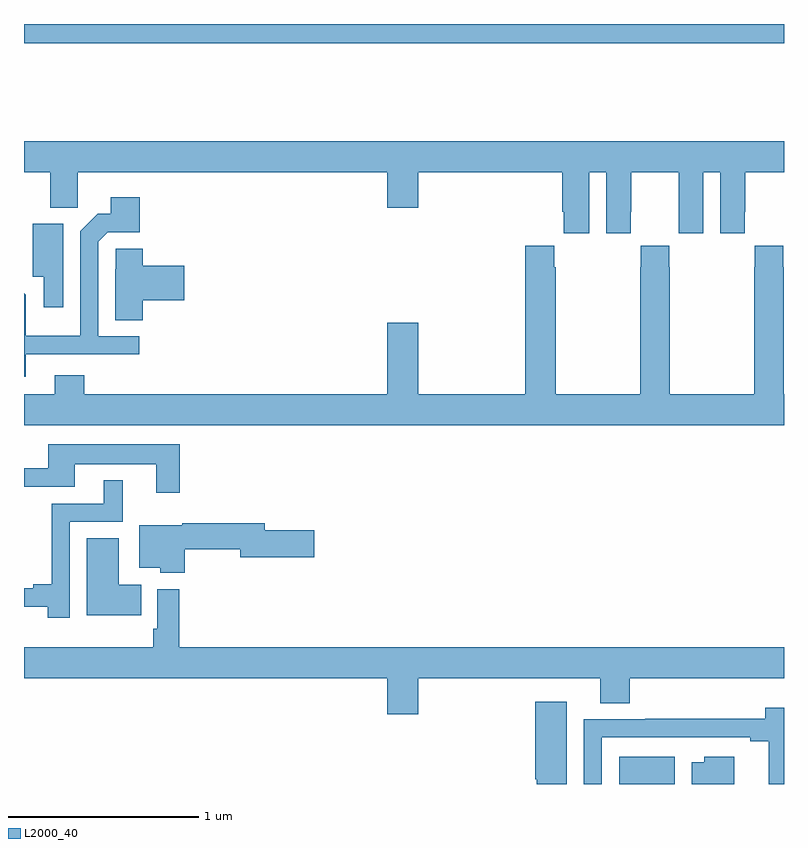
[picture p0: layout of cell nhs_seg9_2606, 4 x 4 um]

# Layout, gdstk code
import gdstk
lib = gdstk.Library(unit=1e-6, precision=1e-09)
def R(c, l, rs):  # rectangles x0, y0, x1, y1
    for r in rs: c.add(gdstk.rectangle(r[:2], r[2:], *l))
def P(c, l, *ps):  # polygons
    for p in ps: c.add(gdstk.Polygon(p, *l))
L2000_40 = (2000, 40)

nhs_seg9_2606 = lib.new_cell('nhs_seg9_2606')
R(nhs_seg9_2606, L2000_40, [(262.133,1226.5,262.426,1226.644), (259,1230.4,263,1230.5)])
P(nhs_seg9_2606, L2000_40, [(259,1229.72),(259.138,1229.72),(259.138,1229.533),(259.284,1229.533),(259.284,1229.72),(260.912,1229.72),(260.912,1229.532),(261.076,1229.532),(261.076,1229.72),(261.833,1229.72),(261.833,1229.512),(261.842,1229.512),(261.842,1229.4),(261.976,1229.4),(261.976,1229.72),(262.064,1229.72),(262.064,1229.4),(262.194,1229.4),(262.194,1229.512),(262.195,1229.512),(262.195,1229.72),(262.445,1229.72),(262.445,1229.512),(262.446,1229.512),(262.446,1229.4),(262.576,1229.4),(262.576,1229.72),(262.664,1229.72),(262.664,1229.4),(262.794,1229.4),(262.794,1229.512),(262.795,1229.512),(262.795,1229.72),(263,1229.72),(263,1229.884),(259,1229.884)],
  [(259.009,1228.761),(259.606,1228.761),(259.606,1228.857),(259.392,1228.857),(259.392,1229.355),(259.44,1229.403),(259.61,1229.403),(259.61,1229.587),(259.457,1229.587),(259.457,1229.502),(259.389,1229.502),(259.296,1229.409),(259.296,1228.858),(259.008,1228.858),(259.008,1229.074),(259,1229.082),(259,1228.643),(259.009,1228.643)],
  [(259.207,1229.448),(259.046,1229.448),(259.046,1229.169),(259.103,1229.169),(259.103,1229.01),(259.207,1229.01)],
  [(263,1228.552),(262.998,1228.552),(262.998,1229.219),(262.995,1229.219),(262.995,1229.332),(262.845,1229.332),(262.845,1229.219),(262.843,1229.219),(262.843,1228.552),(262.398,1228.552),(262.398,1229.219),(262.395,1229.219),(262.395,1229.332),(262.245,1229.332),(262.245,1229.219),(262.243,1229.219),(262.243,1228.552),(261.798,1228.552),(261.798,1229.219),(261.791,1229.219),(261.791,1229.332),(261.638,1229.332),(261.638,1228.552),(261.076,1228.552),(261.076,1228.927),(260.912,1228.927),(260.912,1228.552),(259.316,1228.552),(259.316,1228.651),(259.163,1228.651),(259.163,1228.552),(259,1228.552),(259,1228.388),(263,1228.388)],
  [(259.625,1229.045),(259.843,1229.045),(259.843,1229.228),(259.625,1229.228),(259.625,1229.318),(259.482,1229.318),(259.482,1229.21),(259.481,1229.21),(259.481,1228.942),(259.625,1228.942)],
  [(259.819,1228.288),(259.127,1228.288),(259.127,1228.161),(259,1228.161),(259,1228.065),(259.267,1228.065),(259.267,1228.184),(259.697,1228.184),(259.697,1228.032),(259.819,1228.032)],
  [(259.242,1227.879),(259.519,1227.879),(259.519,1228.099),(259.421,1228.099),(259.421,1227.975),(259.145,1227.975),(259.145,1227.551),(259.049,1227.551),(259.049,1227.531),(259,1227.531),(259,1227.434),(259.126,1227.434),(259.126,1227.375),(259.242,1227.375)],
  [(259.845,1227.736),(260.138,1227.736),(260.138,1227.694),(260.527,1227.694),(260.527,1227.836),(260.266,1227.836),(260.266,1227.872),(259.833,1227.872),(259.833,1227.862),(259.607,1227.862),(259.607,1227.638),(259.716,1227.638),(259.716,1227.611),(259.845,1227.611)],
  [(259.616,1227.55),(259.498,1227.55),(259.498,1227.794),(259.331,1227.794),(259.331,1227.389),(259.616,1227.389)],
  [(261.076,1227.056),(262.034,1227.056),(262.034,1226.926),(262.187,1226.926),(262.187,1227.056),(263,1227.056),(263,1227.22),(259.817,1227.22),(259.817,1227.526),(259.701,1227.526),(259.701,1227.316),(259.681,1227.316),(259.681,1227.22),(259,1227.22),(259,1227.056),(260.912,1227.056),(260.912,1226.868),(261.076,1226.868)],
  [(261.856,1226.932),(261.692,1226.932),(261.692,1226.526),(261.698,1226.526),(261.698,1226.5),(261.856,1226.5)],
  [(262.041,1226.745),(262.823,1226.745),(262.823,1226.725),(262.919,1226.725),(262.919,1226.5),(263,1226.5),(263,1226.902),(262.9,1226.902),(262.9,1226.843),(262.27,1226.843),(262.27,1226.841),(261.945,1226.841),(261.945,1226.5),(262.041,1226.5)],
  [(262.738,1226.644),(262.58,1226.644),(262.58,1226.614),(262.514,1226.614),(262.514,1226.5),(262.738,1226.5)])

lib.write_gds('nhs_seg9_2606.gds')
